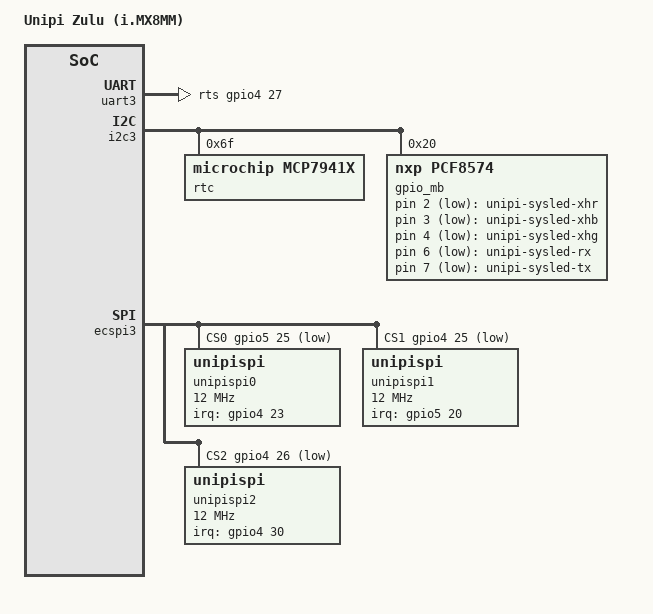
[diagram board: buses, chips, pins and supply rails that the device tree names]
// SPDX-License-Identifier: (GPL-3.0+ OR MIT)
/*
 * Copyright 2020 Faster CZ
 * Copyright 2019 NXP
 */

/dts-v1/;

#include <dt-bindings/usb/pd.h>
#include "unipi-zulu.dtsi"

/ {
	model = "Unipi Zulu (i.MX8MM)";

	mbleds {
	    compatible = "gpio-leds";

		user-led@1 {
	        label = "unipi-sysled-xhr";
	        gpios = <&gpio_mb 2 GPIO_ACTIVE_LOW>;
	        default-state = "off";
	    };

	    user-led@2 {
	        label = "unipi-sysled-xhb";
	        gpios = <&gpio_mb 3 GPIO_ACTIVE_LOW>;
		    #default-state = "off";
		    default-state = "on";
	        linux,default-trigger = "none";
	    };

	    user-led@3 {
	        label = "unipi-sysled-xhg";
	        gpios = <&gpio_mb 4 GPIO_ACTIVE_LOW>;
		    default-state = "off";

	    };

	    user-led@4 {
	        label = "unipi-sysled-rx";
	        gpios = <&gpio_mb 6 GPIO_ACTIVE_LOW>;
	        default-state = "off";
	    };
        
	    user-led@5 {
	        label = "unipi-sysled-tx";
	        gpios = <&gpio_mb 7 GPIO_ACTIVE_LOW>;
	        default-state = "off";
	    };
	};
};
                    
&uart3 { /* console */
    pinctrl-names = "default";
    pinctrl-0 = <&pinctrl_uart3>, <&pinctrl_uart3_ctrl>;
    status = "okay";
    rts-gpios = <&gpio4 27 GPIO_ACTIVE_HIGH>;
};

&i2c3 {
    status = "okay";

    rtc@6f {
            compatible = "microchip,mcp7941x";
            reg = <0x6f>;
    };

    gpio_mb: pcf8574@20 {
          compatible = "nxp,pcf8574";
          gpio-controller;
          #gpio-cells = <2>;
          reg = <0x20>;
    };

};

&ecspi3 {
    fsl,spi-num-chipselects = <0>;
    pinctrl-names = "default";
    pinctrl-0 = <&pinctrl_ecspi3>, <&pinctrl_ecspi3_cs>;
    cs-gpios = <&gpio5 25 1>, <&gpio4 25 1>, <&gpio4 26 1>;
    status = "okay";

    unipispi0: unipispi@0 {
        compatible = "unipispi";
        reg = <0>;
        status = "okay";
        spi-max-frequency = <12000000>;
        interrupt-parent = <&gpio4>;
        interrupts = <23 IRQ_TYPE_EDGE_RISING>;   // gpio4.23
        neuron-board-index = <0>;
    };

    unipispi1: unipispi@1 {
        compatible = "unipispi";
        reg = <1>;
        status = "okay";
        spi-max-frequency = <12000000>;
        interrupt-parent = <&gpio5>;
        interrupts = <20 IRQ_TYPE_EDGE_RISING>;   // gpio5.20
        neuron-board-index = <1>;
    };

    unipispi2: unipispi@2 {
        compatible = "unipispi";
        reg = <2>;
        status = "okay";
        spi-max-frequency = <12000000>;
        interrupt-parent = <&gpio4>;
        interrupts = <30 IRQ_TYPE_EDGE_RISING>;   // gpio4.30
        neuron-board-index = <2>;
    };
};

&iomuxc {

    pinctrl_ecspi3_cs: ecspi3cs {
            fsl,pins = <
                MX8MM_IOMUXC_UART2_TXD_GPIO5_IO25           0x16
                MX8MM_IOMUXC_SAI2_TXC_GPIO4_IO25            0x16
                MX8MM_IOMUXC_SAI2_TXD0_GPIO4_IO26           0x16
                MX8MM_IOMUXC_SAI2_RXD0_GPIO4_IO23           0x19
                MX8MM_IOMUXC_I2C4_SCL_GPIO5_IO20            0x19
                MX8MM_IOMUXC_SAI3_RXD_GPIO4_IO30            0x19
            >;
    };
};
